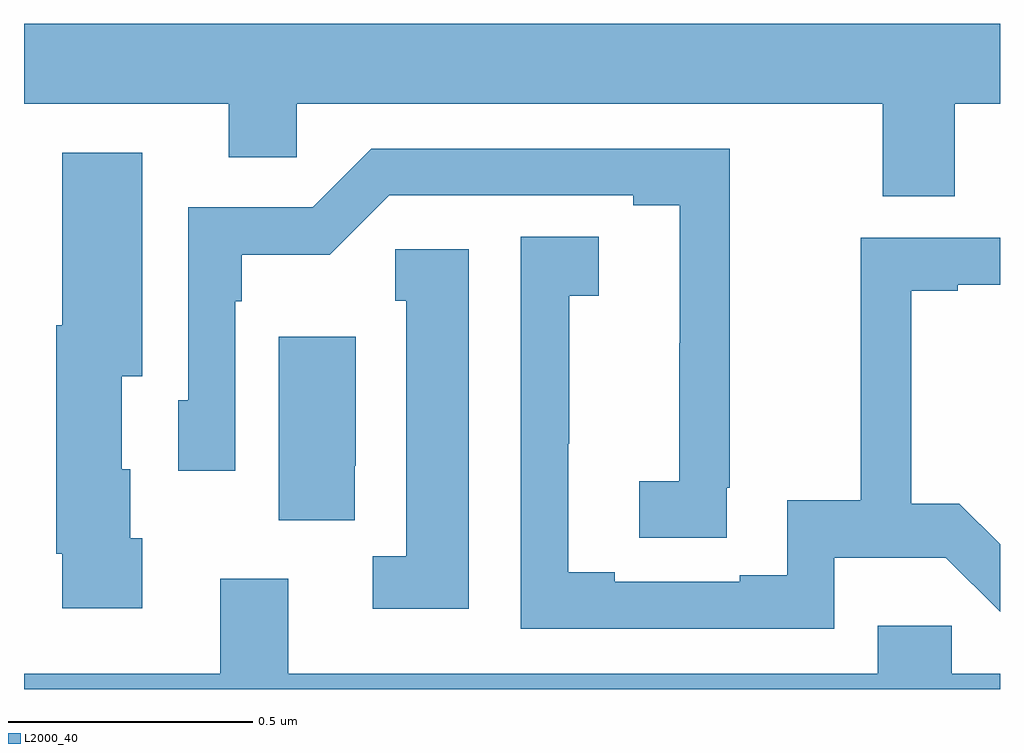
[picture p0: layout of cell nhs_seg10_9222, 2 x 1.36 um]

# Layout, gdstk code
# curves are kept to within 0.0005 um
import gdstk
lib = gdstk.Library(unit=1e-6, precision=1e-09)
def P(c, l, *ps):  # polygons
    for p in ps: c.add(gdstk.Polygon(p, *l))
L2000_40 = (2000, 40)

nhs_seg10_9222 = lib.new_cell('nhs_seg10_9222')
P(nhs_seg10_9222, L2000_40, [(228.907,1249.7),(229,1249.7),(229,1249.864),(227,1249.864),(227,1249.7),(227.42,1249.7),(227.42,1249.59),(227.559,1249.59),(227.559,1249.7),(228.76,1249.7),(228.76,1249.51),(228.907,1249.51)],
  [(228.44,1248.913),(228.446,1248.913),(228.446,1249.608),(227.712,1249.608),(227.592,1249.488),(227.337,1249.488),(227.337,1249.092),(227.316,1249.092),(227.316,1248.948),(227.433,1248.948),(227.433,1249.295),(227.446,1249.295),(227.446,1249.391),(227.627,1249.391),(227.748,1249.512),(228.248,1249.512),(228.248,1249.492),(228.344,1249.492),(228.343,1248.926),(228.261,1248.926),(228.261,1248.811),(228.44,1248.811)],
  [(227.242,1248.81),(227.218,1248.81),(227.218,1248.951),(227.2,1248.951),(227.2,1249.142),(227.242,1249.142),(227.242,1249.6),(227.078,1249.6),(227.078,1249.246),(227.066,1249.246),(227.066,1248.778),(227.078,1248.778),(227.078,1248.666),(227.242,1248.666)],
  [(228.66,1248.77),(228.889,1248.77),(229,1248.659),(229,1248.797),(228.917,1248.88),(228.818,1248.88),(228.818,1249.317),(228.913,1249.317),(228.913,1249.329),(229,1249.329),(229,1249.425),(228.715,1249.425),(228.715,1248.887),(228.564,1248.887),(228.564,1248.734),(228.467,1248.734),(228.467,1248.72),(228.211,1248.72),(228.211,1248.74),(228.115,1248.74),(228.115,1249.003),(228.117,1249.003),(228.117,1249.307),(228.178,1249.307),(228.178,1249.427),(228.018,1249.427),(228.018,1248.624),(228.66,1248.624)],
  [(227.911,1249.402),(227.761,1249.402),(227.761,1249.296),(227.783,1249.296),(227.783,1248.773),(227.715,1248.773),(227.715,1248.665),(227.911,1248.665)],
  [(227.678,1248.958),(227.68,1248.958),(227.68,1249.222),(227.522,1249.222),(227.522,1248.846),(227.678,1248.846)],
  [(229,1248.532),(228.901,1248.532),(228.901,1248.63),(228.749,1248.63),(228.749,1248.532),(227.542,1248.532),(227.542,1248.727),(227.402,1248.727),(227.402,1248.532),(227,1248.532),(227,1248.5),(229,1248.5)])

lib.write_gds('nhs_seg10_9222.gds')
